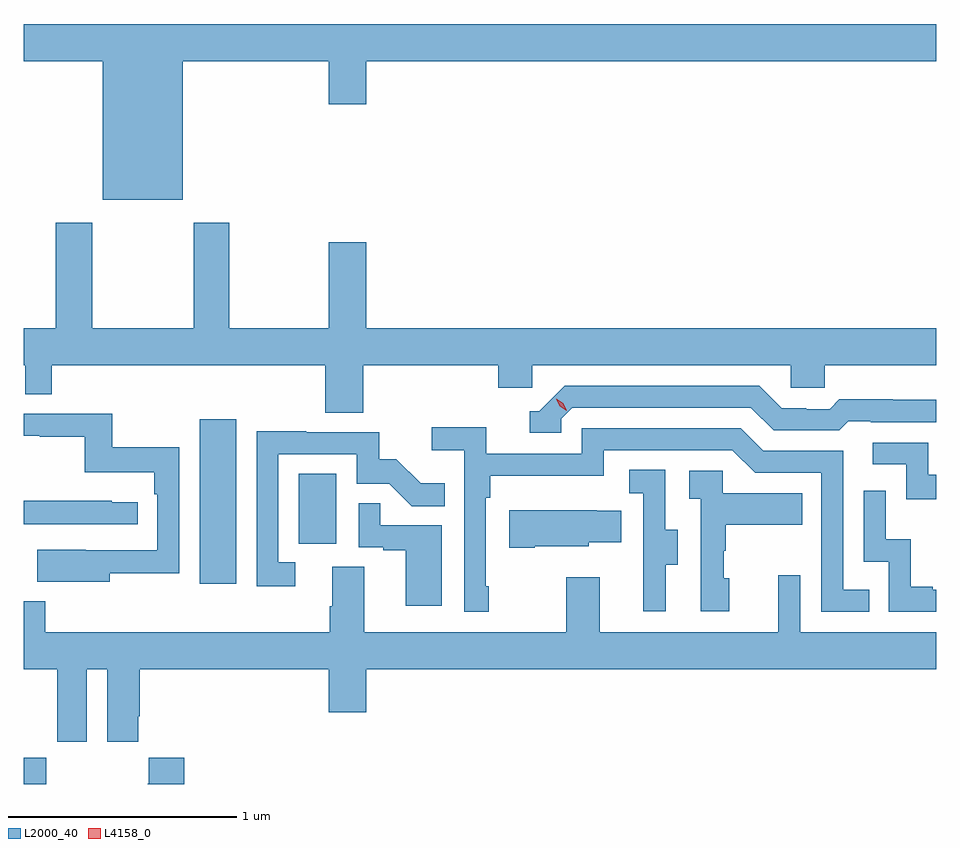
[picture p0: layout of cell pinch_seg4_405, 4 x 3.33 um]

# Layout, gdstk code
import gdstk
lib = gdstk.Library(unit=1e-6, precision=1e-09)
def R(c, l, rs):  # rectangles x0, y0, x1, y1
    for r in rs: c.add(gdstk.rectangle(r[:2], r[2:], *l))
def P(c, l, *ps):  # polygons
    for p in ps: c.add(gdstk.Polygon(p, *l))
L2000_40 = (2000, 40)
L4158_0 = (4158, 0)

pinch_seg4_405 = lib.new_cell('pinch_seg4_405')
R(pinch_seg4_405, L2000_40, [(954.878,773.674,954.978,773.788), (955.649,774.552,955.81,775.273), (956.084,774.726,956.248,775.033)])
P(pinch_seg4_405, L2000_40, [(955.576,776.84),(956.216,776.84),(956.216,776.652),(956.38,776.652),(956.38,776.84),(958.878,776.84),(958.878,777.004),(954.878,777.004),(954.878,776.84),(955.226,776.84),(955.226,776.234),(955.576,776.234)],
  [(956.366,775.508),(956.957,775.508),(956.957,775.41),(957.108,775.41),(957.108,775.508),(958.239,775.508),(958.239,775.41),(958.389,775.41),(958.389,775.508),(958.878,775.508),(958.878,775.672),(956.38,775.672),(956.38,776.047),(956.216,776.047),(956.216,775.672),(955.779,775.672),(955.779,776.134),(955.624,776.134),(955.624,775.672),(955.179,775.672),(955.179,776.134),(955.019,776.134),(955.019,775.672),(954.878,775.672),(954.878,775.508),(954.885,775.508),(954.885,775.381),(955.001,775.381),(955.001,775.508),(956.201,775.508),(956.201,775.3),(956.366,775.3)],
  [(957.234,775.275),(957.282,775.323),(958.065,775.323),(958.164,775.224),(958.453,775.224),(958.492,775.263),(958.591,775.263),(958.591,775.26),(958.878,775.26),(958.878,775.357),(958.686,775.357),(958.686,775.36),(958.453,775.36),(958.411,775.317),(958.308,775.317),(958.308,775.32),(958.201,775.32),(958.102,775.419),(957.249,775.419),(957.138,775.308),(957.095,775.308),(957.095,775.212),(957.234,775.212)],
  [(955.255,774.598),(955.56,774.598),(955.56,775.15),(955.267,775.15),(955.267,775.296),(954.878,775.296),(954.878,775.2),(954.949,775.2),(954.949,775.195),(955.146,775.195),(955.146,775.04),(955.451,775.04),(955.451,774.944),(955.464,774.944),(955.464,774.699),(955.151,774.699),(955.151,774.7),(954.937,774.7),(954.937,774.56),(955.255,774.56)],
  [(956.917,774.541),(956.904,774.541),(956.904,774.929),(956.924,774.929),(956.924,775.025),(957.42,775.025),(957.42,775.137),(957.984,775.137),(958.083,775.038),(958.374,775.038),(958.374,774.429),(958.583,774.429),(958.583,774.525),(958.47,774.525),(958.47,775.134),(958.12,775.134),(958.021,775.233),(957.324,775.233),(957.324,775.122),(956.906,775.122),(956.906,775.238),(956.667,775.238),(956.667,775.136),(956.808,775.136),(956.808,774.429),(956.917,774.429)],
  [(956.068,774.645),(955.995,774.645),(955.995,775.119),(956.337,775.119),(956.337,774.99),(956.481,774.99),(956.579,774.892),(956.723,774.892),(956.723,774.991),(956.619,774.991),(956.512,775.098),(956.436,775.098),(956.436,775.215),(956.117,775.215),(956.117,775.22),(955.899,775.22),(955.899,774.54),(956.068,774.54)],
  [(958.878,775.029),(958.842,775.029),(958.842,775.17),(958.599,775.17),(958.599,775.074),(958.746,775.074),(958.746,774.921),(958.878,774.921)],
  [(957.691,774.634),(957.745,774.634),(957.745,774.789),(957.69,774.789),(957.69,775.052),(957.531,775.052),(957.531,774.949),(957.594,774.949),(957.594,774.645),(957.593,774.645),(957.593,774.432),(957.691,774.432)],
  [(957.97,774.576),(957.945,774.576),(957.945,774.695),(957.955,774.695),(957.955,774.809),(958.289,774.809),(958.289,774.949),(957.942,774.949),(957.942,775.047),(957.795,775.047),(957.795,774.923),(957.846,774.923),(957.846,774.432),(957.97,774.432)],
  [(958.878,774.525),(958.861,774.525),(958.861,774.538),(958.766,774.538),(958.766,774.746),(958.656,774.746),(958.656,774.958),(958.56,774.958),(958.56,774.648),(958.668,774.648),(958.668,774.429),(958.878,774.429)],
  [(955.378,774.909),(955.265,774.909),(955.265,774.914),(954.878,774.914),(954.878,774.813),(955.378,774.813)],
  [(956.71,774.807),(956.441,774.807),(956.441,774.905),(956.346,774.905),(956.346,774.711),(956.453,774.711),(956.453,774.699),(956.552,774.699),(956.552,774.456),(956.71,774.456)],
  [(957.118,774.716),(957.354,774.716),(957.354,774.734),(957.497,774.734),(957.497,774.871),(957.389,774.871),(957.389,774.874),(957.006,774.874),(957.006,774.709),(957.118,774.709)],
  [(955.156,774.176),(955.244,774.176),(955.244,773.859),(955.381,773.859),(955.381,773.971),(955.388,773.971),(955.388,774.176),(956.216,774.176),(956.216,773.988),(956.38,773.988),(956.38,774.176),(958.878,774.176),(958.878,774.34),(958.281,774.34),(958.281,774.589),(958.184,774.589),(958.184,774.34),(957.403,774.34),(957.403,774.58),(957.256,774.58),(957.256,774.34),(956.371,774.34),(956.371,774.626),(956.231,774.626),(956.231,774.452),(956.219,774.452),(956.219,774.34),(954.974,774.34),(954.974,774.475),(954.878,774.475),(954.878,774.176),(955.025,774.176),(955.025,773.859),(955.156,773.859)],
  [(955.583,773.788),(955.427,773.788),(955.427,773.675),(955.423,773.675),(955.423,773.674),(955.583,773.674)])
P(pinch_seg4_405, L4158_0, [(957.258,775.309),(957.228,775.329),(957.211,775.362),(957.211,775.362),(957.212,775.362),(957.242,775.342),(957.258,775.31),(957.258,775.309)])

lib.write_gds('pinch_seg4_405.gds')
